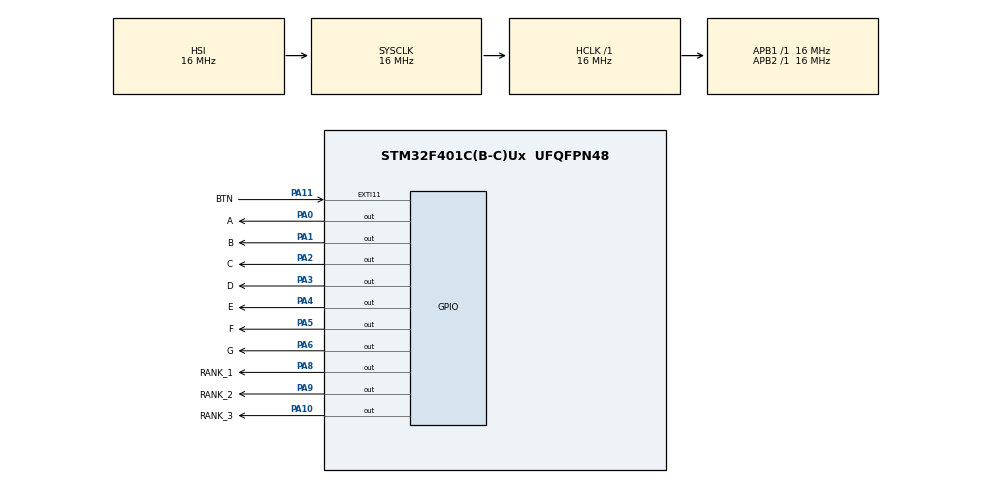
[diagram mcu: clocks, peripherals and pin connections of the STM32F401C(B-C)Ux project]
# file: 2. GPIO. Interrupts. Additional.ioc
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Mcu.Family=STM32F4
Mcu.Name=STM32F401C(B-C)Ux
Mcu.Package=UFQFPN48
NVIC.EXTI15_10_IRQn=true\:0\:0\:false\:false\:true\:true\:true\:true
NVIC.PriorityGroup=NVIC_PRIORITYGROUP_4
PA0-WKUP.GPIO_Label=A
PA0-WKUP.Signal=GPIO_Output
PA1.GPIO_Label=B
PA1.Signal=GPIO_Output
PA10.GPIO_Label=RANK_3
PA10.Signal=GPIO_Output
PA11.GPIO_Label=BTN
PA11.Signal=GPXTI11
PA13.Mode=Serial_Wire
PA13.Signal=SYS_JTMS-SWDIO
PA14.Mode=Serial_Wire
PA14.Signal=SYS_JTCK-SWCLK
PA2.GPIO_Label=C
PA2.Signal=GPIO_Output
PA3.GPIO_Label=D
PA3.Signal=GPIO_Output
PA4.GPIO_Label=E
PA4.Signal=GPIO_Output
PA5.GPIO_Label=F
PA5.Signal=GPIO_Output
PA6.GPIO_Label=G
PA6.Signal=GPIO_Output
PA8.GPIO_Label=RANK_1
PA8.Signal=GPIO_Output
PA9.GPIO_Label=RANK_2
PA9.Signal=GPIO_Output
ProjectManager.HeapSize=0x200
ProjectManager.StackSize=0x400
ProjectManager.TargetToolchain=STM32CubeIDE
RCC.AHBFreq_Value=16000000
RCC.APB1Freq_Value=16000000
RCC.APB2Freq_Value=16000000
RCC.CortexFreq_Value=16000000
RCC.HSE_VALUE=25000000
RCC.HSI_VALUE=16000000
RCC.LSE_VALUE=32768
RCC.SYSCLKFreq_VALUE=16000000
RCC.VCOOutputFreq_Value=192000000
board=custom

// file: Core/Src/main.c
/* USER CODE BEGIN Header */
/**
  ******************************************************************************
  * @file           : main.c
  * @brief          : Main program body
  ******************************************************************************
  * @attention
  *
  * Copyright (c) 2024 STMicroelectronics.
  * All rights reserved.
  *
  * This software is licensed under terms that can be found in the LICENSE file
  * in the root directory of this software component.
  * If no LICENSE file comes with this software, it is provided AS-IS.
  *
  ******************************************************************************
  */
/* USER CODE END Header */
#include "main.h"
#include "gpio.h"

/* USER CODE BEGIN Includes */
#include "led.h"
#include "segment_indicator.h"
#include "button.h"
/* USER CODE END Includes */

/* USER CODE BEGIN PD */

#define RANKS_N 3
#define DIGITS_N 10
#define SEGMENT_PINS 0x00FF
#define SEGMENTS_GPIO_Port GPIOA
#define RANKS_GPIO_Port GPIOA

/* USER CODE END PD */

/* USER CODE BEGIN PV */
volatile uint32_t count = 0;
/* USER CODE END PV */

void SystemClock_Config(void);

int main(void)
{
  /* USER CODE BEGIN 1 */
  uint16_t RANKS[] ={
	GPIO_PIN_8,
	GPIO_PIN_9,
	GPIO_PIN_10
  };

  uint16_t DIGITS[] = {63, 6, 91, 79, 102, 109, 125, 7, 127, 111};

  uint16_t converted_digits[RANKS_N] = {0};

  segments_status_t segment = {0};

  segment.digits_port = SEGMENTS_GPIO_Port;
  segment.ranks_port = RANKS_GPIO_Port;

  segment.ranks_n = RANKS_N;
  segment.digits_n = DIGITS_N;

  segment.ranks_pins = RANKS;
  segment.digits_pins = DIGITS;

  divided_num_t num_divided = {0};

  num_divided.cur_num = 0 - 1;
  num_divided.converted_digits = converted_digits;
  num_divided.ranks_n = RANKS_N;
  /* USER CODE END 1 */

  /* MCU Configuration--------------------------------------------------------*/

  /* Reset of all peripherals, Initializes the Flash interface and the Systick. */
  HAL_Init();

  /* Configure the system clock */
  SystemClock_Config();

  /* Initialize all configured peripherals */
  MX_GPIO_Init();
  /* USER CODE BEGIN 2 */
  init_button(BTN_GPIO_Port, BTN_Pin);

  init_indicator(&segment);
  /* USER CODE END 2 */

  /* Infinite loop */
  /* USER CODE BEGIN WHILE */
  while (1)
  {
	display_num(&segment, count, &num_divided);
	HAL_Delay(5);
    /* USER CODE END WHILE */

    /* USER CODE BEGIN 3 */
  }
  return 0;
  /* USER CODE END 3 */
}

void HAL_GPIO_EXTI_Callback(uint16_t pin){
	if(pin == BTN_Pin){
		count += 1;
	}
}

void SystemClock_Config(void)
{
  RCC_OscInitTypeDef RCC_OscInitStruct = {0};
  RCC_ClkInitTypeDef RCC_ClkInitStruct = {0};

  /** Configure the main internal regulator output voltage
  */
  __HAL_RCC_PWR_CLK_ENABLE();
  __HAL_PWR_VOLTAGESCALING_CONFIG(PWR_REGULATOR_VOLTAGE_SCALE2);

  /** Initializes the RCC Oscillators according to the specified parameters
  * in the RCC_OscInitTypeDef structure.
  */
  RCC_OscInitStruct.OscillatorType = RCC_OSCILLATORTYPE_HSI;
  RCC_OscInitStruct.HSIState = RCC_HSI_ON;
  RCC_OscInitStruct.HSICalibrationValue = RCC_HSICALIBRATION_DEFAULT;
  RCC_OscInitStruct.PLL.PLLState = RCC_PLL_NONE;
  if (HAL_RCC_OscConfig(&RCC_OscInitStruct) != HAL_OK)
  {
    Error_Handler();
  }

  /** Initializes the CPU, AHB and APB buses clocks
  */
  RCC_ClkInitStruct.ClockType = RCC_CLOCKTYPE_HCLK|RCC_CLOCKTYPE_SYSCLK
                              |RCC_CLOCKTYPE_PCLK1|RCC_CLOCKTYPE_PCLK2;
  RCC_ClkInitStruct.SYSCLKSource = RCC_SYSCLKSOURCE_HSI;
  RCC_ClkInitStruct.AHBCLKDivider = RCC_SYSCLK_DIV1;
  RCC_ClkInitStruct.APB1CLKDivider = RCC_HCLK_DIV1;
  RCC_ClkInitStruct.APB2CLKDivider = RCC_HCLK_DIV1;

  if (HAL_RCC_ClockConfig(&RCC_ClkInitStruct, FLASH_LATENCY_0) != HAL_OK)
  {
    Error_Handler();
  }
}

void Error_Handler(void)
{
  __disable_irq();
  while (1)
  {
  }
}
